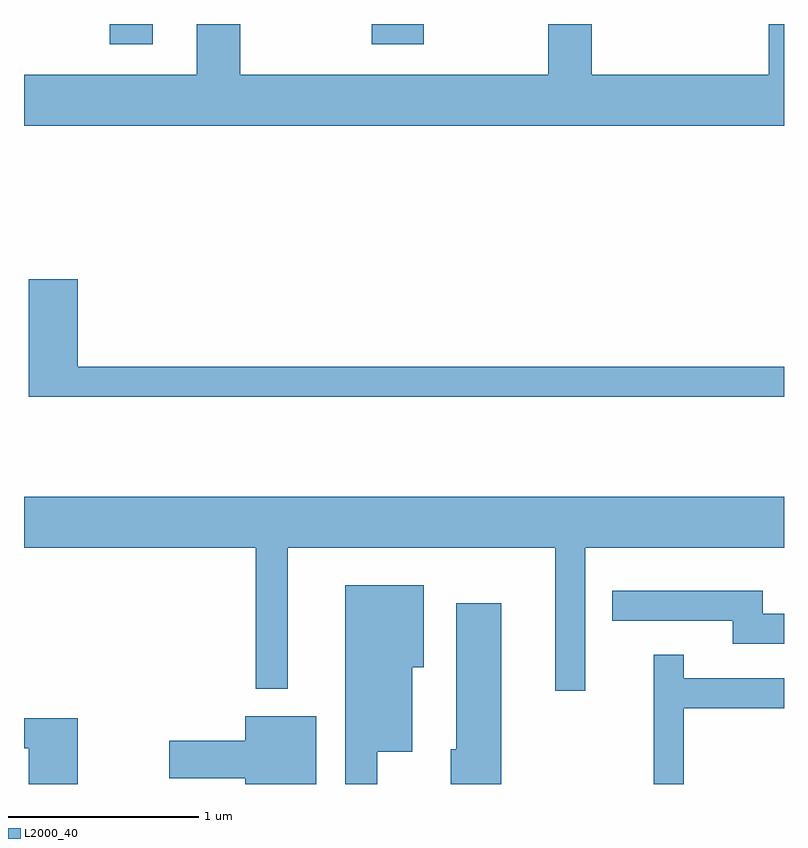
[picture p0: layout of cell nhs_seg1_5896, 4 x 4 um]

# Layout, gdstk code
import gdstk
lib = gdstk.Library(unit=1e-6, precision=1e-09)
def R(c, l, rs):  # rectangles x0, y0, x1, y1
    for r in rs: c.add(gdstk.rectangle(r[:2], r[2:], *l))
def P(c, l, *ps):  # polygons
    for p in ps: c.add(gdstk.Polygon(p, *l))
L2000_40 = (2000, 40)

nhs_seg1_5896 = lib.new_cell('nhs_seg1_5896')
R(nhs_seg1_5896, L2000_40, [(364.061,855.606,364.289,855.712), (365.441,855.606,365.714,855.712)])
P(nhs_seg1_5896, L2000_40, [(367.611,855.712),(367.531,855.712),(367.531,855.444),(366.599,855.444),(366.599,855.712),(366.371,855.712),(366.371,855.444),(364.749,855.444),(364.749,855.712),(364.521,855.712),(364.521,855.444),(363.611,855.444),(363.611,855.176),(367.611,855.176)],
  [(367.611,853.909),(363.894,853.909),(363.894,854.369),(363.636,854.369),(363.636,853.751),(367.611,853.751)],
  [(366.564,852.956),(367.611,852.956),(367.611,853.224),(363.611,853.224),(363.611,852.956),(364.831,852.956),(364.831,852.213),(364.999,852.213),(364.999,852.956),(366.406,852.956),(366.406,852.203),(366.564,852.203)],
  [(365.469,851.881),(365.654,851.881),(365.654,852.326),(365.714,852.326),(365.714,852.759),(365.301,852.759),(365.301,851.712),(365.469,851.712)],
  [(367.611,852.609),(367.499,852.609),(367.499,852.729),(366.708,852.729),(366.708,852.571),(367.341,852.571),(367.341,852.451),(367.611,852.451)],
  [(366.124,852.664),(365.886,852.664),(365.886,851.894),(365.856,851.894),(365.856,851.712),(366.124,851.712)],
  [(367.084,852.111),(367.611,852.111),(367.611,852.269),(367.084,852.269),(367.084,852.393),(366.926,852.393),(366.926,851.712),(367.084,851.712)],
  [(365.149,852.069),(364.776,852.069),(364.776,851.939),(364.376,851.939),(364.376,851.741),(364.776,851.741),(364.776,851.712),(365.149,851.712)],
  [(363.894,852.059),(363.611,852.059),(363.611,851.901),(363.636,851.901),(363.636,851.712),(363.894,851.712)])

lib.write_gds('nhs_seg1_5896.gds')
